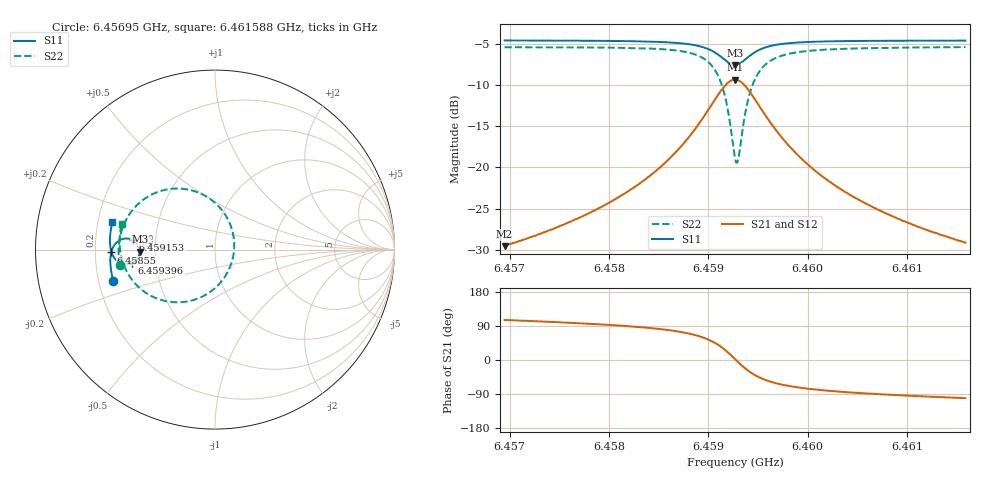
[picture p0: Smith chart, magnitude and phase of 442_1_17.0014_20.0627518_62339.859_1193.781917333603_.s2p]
#  HZ  S  RI  R  50.00
! Rohde & Schwarz Vector Network Analyzer
! Rohde-Schwarz,ZNB20-2Port,1311601062101988,3.16
! Created: UTC 3/20/2024, 11:11:54 PM
! freq[Hz]  re:S11  im:S11  re:S21  im:S21  re:S12  im:S12  re:S22  im:S22
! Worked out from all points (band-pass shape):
!   401 points, 6.45695 GHz to 6.461588 GHz, reference 50 ohm
!   highest |S21| = -9.31 dB at 6.459269 GHz (marker M1); lowest = -29.6 dB at 6.45695 GHz (marker M2)
!   |S21| within 3 dB of the highest: 6.459037 GHz to 6.459501 GHz (464.1 kHz wide, 0.00719 % of centre)
!   lowest |S11| = -7.5 dB at 6.459269 GHz (marker M3), VSWR 2.45, Z = 20.4 - j0.53 ohm
!   |S11| at or under -10 dB: nowhere
!   |S22| runs from -19.4 to -5.4 dB; largest |S21 - S12| = 0.013
!   S11 on the Smith chart (normalised r, x): 6.45695 GHz: 0.26, -0.14; 6.45855 GHz: 0.27, -0.01; 6.459153 GHz: 0.37, +0.05; 6.459396 GHz: 0.37, -0.07; 6.461588 GHz: 0.26, +0.12
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6.4569498e9  -0.566 -0.1742  -0.0089 0.032  -0.00725 0.032  -0.5312 -0.087
6.4577266e9  -0.5804 -0.1065  -0.00577 0.0499  -0.00326 0.0493  -0.537 0.00309
6.4581556e9  -0.5836 -0.0637  0.000132 0.0694  0.00333 0.0679  -0.5292 0.0704
6.4585035e9  -0.5798 -0.0223  0.0137 0.0978  0.0178 0.0951  -0.5043 0.148
6.4585499e9  -0.5785 -0.016  0.0172 0.1031  0.0212 0.1002  -0.4981 0.1612
6.4587586e9  -0.5664 0.0158  0.0431 0.1347  0.0472 0.13  -0.4495 0.2325
6.4589093e9  -0.5452 0.042  0.0854 0.1648  0.0887 0.1583  -0.3715 0.2964
6.45906e9  -0.4994 0.0617  0.1764 0.1837  0.1775 0.1765  -0.205 0.3403
6.4591528e9  -0.4553 0.0517  0.2656 0.1529  0.2659 0.1471  -0.0399 0.2909
6.4591992e9  -0.4343 0.033  0.309 0.1106  0.3102 0.1053  0.0423 0.2154
6.4592688e9  -0.4196 -0.0107  0.3421 0.0147  0.3455 0.0079  0.1071 0.0374
6.4592919e9  -0.4214 -0.0265  0.3401 -0.0201  0.3439 -0.0285  0.1032 -0.0289
6.4593035e9  -0.4235 -0.034  0.3365 -0.0372  0.3402 -0.0463  0.096 -0.0612
6.4593499e9  -0.4389 -0.0598  0.3084 -0.0967  0.3106 -0.1085  0.0391 -0.1734
6.4593963e9  -0.4607 -0.076  0.2668 -0.1374  0.2659 -0.1505  -0.0448 -0.2477
6.4594891e9  -0.5037 -0.0827  0.1827 -0.1685  0.1767 -0.18  -0.212 -0.2937
6.4596398e9  -0.5472 -0.0621  0.0957 -0.1551  0.0873 -0.1612  -0.3782 -0.2452
6.4598021e9  -0.5686 -0.0346  0.0511 -0.1275  0.0435 -0.1302  -0.4582 -0.1737
6.4600456e9  -0.5811 0.000941  0.0223 -0.0964  0.0164 -0.0968  -0.5058 -0.0916
6.4603934e9  -0.5856 0.042  0.00638 -0.0698  0.00224 -0.0694  -0.5274 -0.0129
6.4608225e9  -0.5837 0.0851  -0.00153 -0.0514  -0.00424 -0.0505  -0.5314 0.0549
6.4615877e9  -0.5712 0.1526  -0.00646 -0.0342  -0.00823 -0.0333  -0.5201 0.1448
